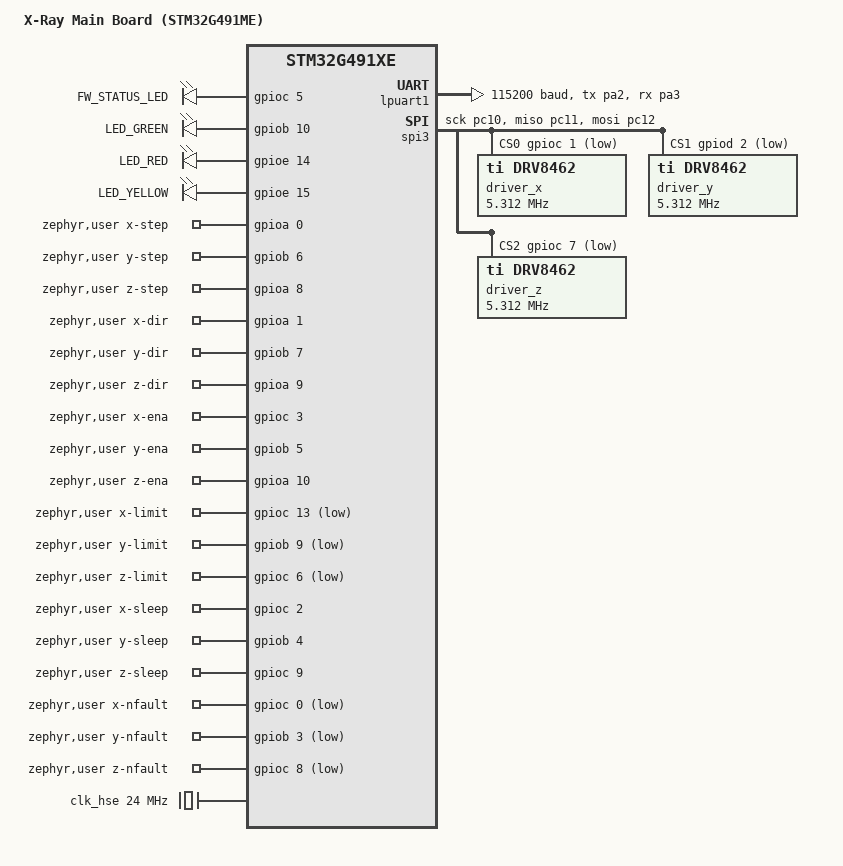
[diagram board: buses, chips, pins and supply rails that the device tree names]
/*
 * X-Ray Main Board: custom PCB with an STM32G491MET6 (LQFP80).
 * Pins and clocks come from MainBoard.ioc.
 */

/dts-v1/;
#include <st/g4/stm32g491Xe.dtsi>
#include <st/g4/stm32g491m(c-e)tx-pinctrl.dtsi>

/ {
	model = "X-Ray Main Board (STM32G491ME)";

	chosen {
		zephyr,console = &lpuart1;
		zephyr,shell-uart = &lpuart1;
		zephyr,sram = &sram0;
		zephyr,flash = &flash0;
	};

	leds {
		compatible = "gpio-leds";
		status_led: status_led {
			gpios = <&gpioc 5 GPIO_ACTIVE_HIGH>;	/* FW_STATUS_LED */
			label = "FW_STATUS_LED";
		};
		green_led: green_led {
			gpios = <&gpiob 10 GPIO_ACTIVE_HIGH>;	/* LED_GREEN */
			label = "LED_GREEN";
		};
		red_led: red_led {
			gpios = <&gpioe 14 GPIO_ACTIVE_HIGH>;	/* LED_RED */
			label = "LED_RED";
		};
		yellow_led: yellow_led {
			gpios = <&gpioe 15 GPIO_ACTIVE_HIGH>;	/* LED_YELLOW */
			label = "LED_YELLOW";
		};
	};

	aliases {
		led0 = &status_led;
		led1 = &green_led;
		led2 = &red_led;
		led3 = &yellow_led;
	};

	zephyr,user {
        /* STEP GPIOS:
            every pulse moves the motor one microstep
            # of pulses = how far it foes
            how fast my pulse = how fast it goes  */

        //FINISH UP ON THE SETTING AFTER THE SPI PROTOCAL IS DONE
        x-step-gpios = <&gpioa 0 GPIO_ACTIVE_HIGH>;
        y-step-gpios = <&gpiob 6 GPIO_ACTIVE_HIGH>;
        z-step-gpios = <&gpioa 8 GPIO_ACTIVE_HIGH>;
        /* DIR GPIOS:
            this picks like which way the motor goes (right or left)
            we set this before stepping and wait at least 5 mu/sec after changing it */
        x-dir-gpios = <&gpioa 1 GPIO_ACTIVE_HIGH>;
        y-dir-gpios = <&gpiob 7 GPIO_ACTIVE_HIGH>;
        z-dir-gpios = <&gpioa 9 GPIO_ACTIVE_HIGH>;

        x-ena-gpios = <&gpioc 3 GPIO_ACTIVE_HIGH>;
        y-ena-gpios = <&gpiob 5 GPIO_ACTIVE_HIGH>;
        z-ena-gpios = <&gpioa 10 GPIO_ACTIVE_HIGH>;

        /* ENA GPIOS:
            this turns the driver's power on/off
            for the testing driver this is alr enabled by default when unconnected
            so that;s why we dont have it yet... but will need to impl for the real one*/
        x-limit-gpios = <&gpioc 13 (GPIO_ACTIVE_LOW | GPIO_PULL_UP)>;
        y-limit-gpios = <&gpiob 9 (GPIO_ACTIVE_LOW | GPIO_PULL_UP)>;
        z-limit-gpios = <&gpioc 6 (GPIO_ACTIVE_LOW | GPIO_PULL_UP)>;

        // the SLEEP PINS
        x-sleep-gpios = <&gpioc 2 GPIO_ACTIVE_HIGH>;
        y-sleep-gpios = <&gpiob 4 GPIO_ACTIVE_HIGH>;
        z-sleep-gpios = <&gpioc 9 GPIO_ACTIVE_HIGH>;

        // NFAULTTT
        x-nfault-gpios = <&gpioc 0 (GPIO_ACTIVE_LOW | GPIO_PULL_UP)>;
        y-nfault-gpios = <&gpiob 3 (GPIO_ACTIVE_LOW | GPIO_PULL_UP)>;
        z-nfault-gpios = <&gpioc 8 (GPIO_ACTIVE_LOW | GPIO_PULL_UP)>;

    };
};

/* 24 MHz crystal on PF0/PF1 (HSE_IN / HSE_OUT) */
&clk_hse {
	clock-frequency = <DT_FREQ_M(24)>;
	status = "okay";
};

/* 24 MHz / 6 = 4 MHz, x 85 = 340 MHz, / 2 = 170 MHz (same as MainBoard.ioc) */
&pll {
	div-m = <6>;
	mul-n = <85>;
	div-p = <7>;
	div-q = <2>;
	div-r = <2>;
	clocks = <&clk_hse>;
	status = "okay";
};

&rcc {
	clocks = <&pll>;
	clock-frequency = <DT_FREQ_M(170)>;
	ahb-prescaler = <1>;
	apb1-prescaler = <1>;
	apb2-prescaler = <1>;
};

/* Debug UART: DBG_TX = PA2, DBG_RX = PA3 */
&lpuart1 {
	pinctrl-0 = <&lpuart1_tx_pa2 &lpuart1_rx_pa3>;
	pinctrl-names = "default";
	current-speed = <115200>;
	status = "okay";
};

&spi3{

    status = "okay";
    pinctrl-0 = <&spi3_sck_pc10 &spi3_miso_pc11 &spi3_mosi_pc12>;
    pinctrl-names = "default";

    // CS (Chip Select) GPIOS
    cs-gpios = <&gpioc 1 GPIO_ACTIVE_LOW>, // X
                <&gpiod 2 GPIO_ACTIVE_LOW>, // Y
                <&gpioc 7 GPIO_ACTIVE_LOW>; // Z

    driver_x: drv8462@0{
        compatible = "ti,drv8462";
        reg = <0>;
        spi-max-frequency = <5312500>;
    };

    driver_y: drv8462@1{
        compatible = "ti,drv8462";
        reg = <1>;
        spi-max-frequency = <5312500>;
    };

    driver_z: drv8462@2{
        compatible = "ti,drv8462";
        reg = <2>;
        spi-max-frequency = <5312500>;
    };
};
